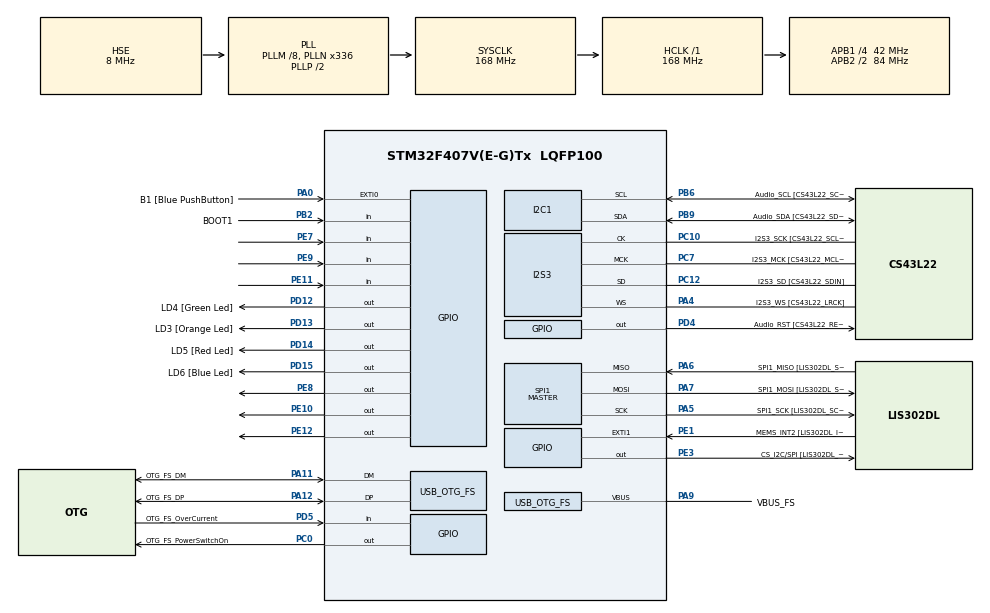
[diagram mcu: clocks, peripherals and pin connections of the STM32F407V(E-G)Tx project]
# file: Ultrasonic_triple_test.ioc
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I2S3.AudioFreq-Half_Duplex_Master=I2S_AUDIOFREQ_96K
I2S3.ErrorAudioFreq=-2.34 %
I2S3.ErrorAudioFreq-Half_Duplex_Master=0.8 %
I2S3.FullDuplexMode=I2S_FULLDUPLEXMODE_DISABLE
I2S3.Instance=SPI$Index
I2S3.RealAudioFreq=93.75 KHz
I2S3.RealAudioFreq-Half_Duplex_Master=96.774 KHz
I2S3.VirtualMode=I2S_MODE_MASTER
Mcu.Family=STM32F4
Mcu.Name=STM32F407V(E-G)Tx
Mcu.Package=LQFP100
NVIC.OTG_FS_IRQn=true\:0\:0\:false\:false\:true\:true\:true\:true
NVIC.PriorityGroup=NVIC_PRIORITYGROUP_0
PA0-WKUP.GPIO_Label=B1 [Blue PushButton]
PA0-WKUP.GPIO_ModeDefaultEXTI=GPIO_MODE_EVT_RISING
PA0-WKUP.GPIO_PuPd=GPIO_NOPULL
PA0-WKUP.Signal=GPXTI0
PA10.GPIO_Label=OTG_FS_ID
PA10.GPIO_Mode=GPIO_MODE_AF_PP
PA10.GPIO_PuPd=GPIO_NOPULL
PA10.GPIO_Speed=GPIO_SPEED_FREQ_LOW
PA10.Signal=USB_OTG_FS_ID
PA11.GPIO_Label=OTG_FS_DM
PA11.GPIO_Mode=GPIO_MODE_AF_PP
PA11.GPIO_PuPd=GPIO_NOPULL
PA11.GPIO_Speed=GPIO_SPEED_FREQ_LOW
PA11.Mode=Host_Only
PA11.Signal=USB_OTG_FS_DM
PA12.GPIO_Label=OTG_FS_DP
PA12.GPIO_Mode=GPIO_MODE_AF_PP
PA12.GPIO_PuPd=GPIO_NOPULL
PA12.GPIO_Speed=GPIO_SPEED_FREQ_LOW
PA12.Mode=Host_Only
PA12.Signal=USB_OTG_FS_DP
PA13.GPIO_Label=SWDIO
PA13.Mode=Serial_Wire
PA13.Signal=SYS_JTMS-SWDIO
PA14.GPIO_Label=SWCLK
PA14.Mode=Serial_Wire
PA14.Signal=SYS_JTCK-SWCLK
PA4.GPIO_Label=I2S3_WS [CS43L22_LRCK]
PA4.GPIO_Mode=GPIO_MODE_AF_PP
PA4.GPIO_PuPd=GPIO_NOPULL
PA4.GPIO_Speed=GPIO_SPEED_FREQ_LOW
PA4.Mode=Half_Duplex_Master
PA4.Signal=I2S3_WS
PA5.GPIO_Label=SPI1_SCK [LIS302DL_SCL/SPC]
PA5.GPIO_Mode=GPIO_MODE_AF_PP
PA5.GPIO_PuPd=GPIO_NOPULL
PA5.GPIO_Speed=GPIO_SPEED_FREQ_LOW
PA5.Mode=Full_Duplex_Master
PA5.Signal=SPI1_SCK
PA6.GPIO_Label=SPI1_MISO [LIS302DL_SDO]
PA6.GPIO_Mode=GPIO_MODE_AF_PP
PA6.GPIO_PuPd=GPIO_NOPULL
PA6.GPIO_Speed=GPIO_SPEED_FREQ_LOW
PA6.Mode=Full_Duplex_Master
PA6.Signal=SPI1_MISO
PA7.GPIO_Label=SPI1_MOSI [LIS302DL_SDA/SDI/SDO]
PA7.GPIO_Mode=GPIO_MODE_AF_PP
PA7.GPIO_PuPd=GPIO_NOPULL
PA7.GPIO_Speed=GPIO_SPEED_FREQ_LOW
PA7.Mode=Full_Duplex_Master
PA7.Signal=SPI1_MOSI
PA9.GPIO_Label=VBUS_FS
PA9.GPIO_Mode=GPIO_MODE_INPUT
PA9.GPIO_PuPd=GPIO_NOPULL
PA9.Mode=Activate_VBUS
PA9.Signal=USB_OTG_FS_VBUS
PB10.GPIO_Label=CLK_IN [MP45DT02_CLK]
PB10.GPIO_Mode=GPIO_MODE_AF_PP
PB10.GPIO_PuPd=GPIO_NOPULL
PB10.GPIO_Speed=GPIO_SPEED_FREQ_LOW
PB10.Signal=I2S2_CK
PB2.GPIO_Label=BOOT1
PB2.GPIO_Mode=GPIO_MODE_INPUT
PB2.GPIO_PuPd=GPIO_NOPULL
PB2.Signal=GPIO_Input
PB3.GPIO_Label=SWO
PB3.Signal=SYS_JTDO-SWO
PB6.GPIO_Label=Audio_SCL [CS43L22_SCL]
PB6.GPIO_Mode=GPIO_MODE_AF_OD
PB6.GPIO_Pu=GPIO_PULLUP
PB6.GPIO_PuPd=GPIO_NOPULL
PB6.GPIO_Speed=GPIO_SPEED_FREQ_LOW
PB6.Mode=I2C
PB6.Signal=I2C1_SCL
PB9.GPIO_Label=Audio_SDA [CS43L22_SDA]
PB9.GPIO_Mode=GPIO_MODE_AF_OD
PB9.GPIO_Pu=GPIO_PULLUP
PB9.GPIO_PuPd=GPIO_NOPULL
PB9.GPIO_Speed=GPIO_SPEED_FREQ_LOW
PB9.Mode=I2C
PB9.Signal=I2C1_SDA
PC0.GPIO_Label=OTG_FS_PowerSwitchOn
PC0.GPIO_PuPd=GPIO_NOPULL
PC0.GPIO_Speed=GPIO_SPEED_FREQ_LOW
PC0.PinState=GPIO_PIN_SET
PC0.Signal=GPIO_Output
PC10.GPIO_Label=I2S3_SCK [CS43L22_SCLK]
PC10.GPIO_Mode=GPIO_MODE_AF_PP
PC10.GPIO_PuPd=GPIO_NOPULL
PC10.GPIO_Speed=GPIO_SPEED_FREQ_LOW
PC10.Mode=Half_Duplex_Master
PC10.Signal=I2S3_CK
PC12.GPIO_Label=I2S3_SD [CS43L22_SDIN]
PC12.GPIO_Mode=GPIO_MODE_AF_PP
PC12.GPIO_PuPd=GPIO_NOPULL
PC12.GPIO_Speed=GPIO_SPEED_FREQ_LOW
PC12.Mode=Half_Duplex_Master
PC12.Signal=I2S3_SD
PC14-OSC32_IN.GPIO_Label=PC14-OSC32_IN
PC14-OSC32_IN.Mode=LSE-External-Oscillator
PC14-OSC32_IN.Signal=RCC_OSC32_IN
PC15-OSC32_OUT.GPIO_Label=PC15-OSC32_OUT
PC15-OSC32_OUT.Mode=LSE-External-Oscillator
PC15-OSC32_OUT.Signal=RCC_OSC32_OUT
PC3.GPIO_Label=PDM_OUT [MP45DT02_DOUT]
PC3.GPIO_Mode=GPIO_MODE_AF_PP
PC3.GPIO_PuPd=GPIO_NOPULL
PC3.GPIO_Speed=GPIO_SPEED_FREQ_LOW
PC3.Signal=I2S2_SD
PC7.GPIO_Label=I2S3_MCK [CS43L22_MCLK]
PC7.GPIO_Mode=GPIO_MODE_AF_PP
PC7.GPIO_PuPd=GPIO_NOPULL
PC7.GPIO_Speed=GPIO_SPEED_FREQ_LOW
PC7.Mode=Master_Clock_Activated
PC7.Signal=I2S3_MCK
PD12.GPIO_Label=LD4 [Green Led]
PD12.GPIO_PuPd=GPIO_NOPULL
PD12.GPIO_Speed=GPIO_SPEED_FREQ_LOW
PD12.Signal=GPIO_Output
PD13.GPIO_Label=LD3 [Orange Led]
PD13.GPIO_PuPd=GPIO_NOPULL
PD13.GPIO_Speed=GPIO_SPEED_FREQ_LOW
PD13.Signal=GPIO_Output
PD14.GPIO_Label=LD5 [Red Led]
PD14.GPIO_PuPd=GPIO_NOPULL
PD14.GPIO_Speed=GPIO_SPEED_FREQ_LOW
PD14.Signal=GPIO_Output
PD15.GPIO_Label=LD6 [Blue Led]
PD15.GPIO_PuPd=GPIO_NOPULL
PD15.GPIO_Speed=GPIO_SPEED_FREQ_LOW
PD15.Signal=GPIO_Output
PD4.GPIO_Label=Audio_RST [CS43L22_RESET]
PD4.GPIO_PuPd=GPIO_NOPULL
PD4.GPIO_Speed=GPIO_SPEED_FREQ_LOW
PD4.Signal=GPIO_Output
PD5.GPIO_Label=OTG_FS_OverCurrent
PD5.GPIO_Mode=GPIO_MODE_INPUT
PD5.GPIO_PuPd=GPIO_NOPULL
PD5.Signal=GPIO_Input
PE1.GPIO_Label=MEMS_INT2 [LIS302DL_INT2]
PE1.GPIO_ModeDefaultEXTI=GPIO_MODE_EVT_RISING
PE1.GPIO_PuPd=GPIO_NOPULL
PE1.Signal=GPXTI1
PE10.Signal=GPIO_Output
PE11.Signal=GPIO_Input
PE12.Signal=GPIO_Output
PE3.GPIO_Label=CS_I2C/SPI [LIS302DL_CS_I2C/SPI]
PE3.GPIO_PuPd=GPIO_NOPULL
PE3.GPIO_Speed=GPIO_SPEED_FREQ_LOW
PE3.Signal=GPIO_Output
PE7.Signal=GPIO_Input
PE8.Signal=GPIO_Output
PE9.Signal=GPIO_Input
PH0-OSC_IN.GPIO_Label=PH0-OSC_IN
PH0-OSC_IN.Mode=HSE-External-Oscillator
PH0-OSC_IN.Signal=RCC_OSC_IN
PH1-OSC_OUT.GPIO_Label=PH1-OSC_OUT
PH1-OSC_OUT.Mode=HSE-External-Oscillator
PH1-OSC_OUT.Signal=RCC_OSC_OUT
ProjectManager.HeapSize=0x200
ProjectManager.StackSize=0x400
ProjectManager.TargetToolchain=STM32CubeIDE
RCC.48MHZClocksFreq_Value=48000000
RCC.AHBFreq_Value=168000000
RCC.APB1CLKDivider=RCC_HCLK_DIV4
RCC.APB1Freq_Value=42000000
RCC.APB1TimFreq_Value=84000000
RCC.APB2CLKDivider=RCC_HCLK_DIV2
RCC.APB2Freq_Value=84000000
RCC.APB2TimFreq_Value=168000000
RCC.CortexFreq_Value=168000000
RCC.HCLKFreq_Value=168000000
RCC.HSE_VALUE=8000000
RCC.HSI_VALUE=16000000
RCC.PLLM=8
RCC.PLLN=336
RCC.PLLQ=7
RCC.SYSCLKFreq_VALUE=168000000
RCC.SYSCLKSource=RCC_SYSCLKSOURCE_PLLCLK
RCC.VCOOutputFreq_Value=336000000
SPI1.BaudRatePrescaler-Full_Duplex_Master=SPI_BAUDRATEPRESCALER_2
SPI1.CalculateBaudRate-Full_Duplex_Master=42.0 MBits/s
SPI1.Direction=SPI_DIRECTION_2LINES
SPI1.Mode=SPI_MODE_MASTER
SPI1.Mode-Full_Duplex_Master=SPI_MODE_MASTER
SPI1.VirtualType=VM_MASTER
TIM1.Prescaler=167
USB_HOST.BSP.number=1
USB_HOST.USBH_HandleTypeDef-CDC_FS=hUsbHostFS
USB_HOST.VirtualModeFS=Cdc
USB_HOST0.BSP.STBoard=false
USB_HOST0.BSP.api=Unknown
USB_HOST0.BSP.instance=PC0
USB_HOST0.BSP.ip=GPIO
USB_HOST0.BSP.mode=Output
USB_HOST0.BSP.name=Drive_VBUS_FS
USB_HOST0.BSP.solution=PC0
USB_OTG_FS.VirtualMode=Host_Only
USB_OTG_FS.phy_itface=HCD_PHY_EMBEDDED
VP_TIM1_VS_ClockSourceINT.Mode=Internal
VP_USB_HOST_VS_USB_HOST_CDC_FS.Mode=CDC_FS
board=STM32F407G-DISC1

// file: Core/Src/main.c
/* USER CODE BEGIN Header */
/**
  ******************************************************************************
  * @file           : main.c
  * @brief          : Main program body
  ******************************************************************************
  * @attention
  *
  * Copyright (c) 2025 STMicroelectronics.
  * All rights reserved.
  *
  * This software is licensed under terms that can be found in the LICENSE file
  * in the root directory of this software component.
  * If no LICENSE file comes with this software, it is provided AS-IS.
  *
  ******************************************************************************
  */
/* USER CODE END Header */
#include "main.h"
#include "usb_host.h"

I2C_HandleTypeDef hi2c1;

I2S_HandleTypeDef hi2s3;

SPI_HandleTypeDef hspi1;

TIM_HandleTypeDef htim1;

/* USER CODE BEGIN PV */
#define TRIG_PIN_1 GPIO_PIN_8
#define TRIG_PORT_1 GPIOE
#define ECHO_PIN_1 GPIO_PIN_7
#define ECHO_PORT_1 GPIOE
#define TRIG_PIN_2 GPIO_PIN_10
#define TRIG_PORT_2 GPIOE
#define ECHO_PIN_2 GPIO_PIN_9
#define ECHO_PORT_2 GPIOE
#define TRIG_PIN_3 GPIO_PIN_12
#define TRIG_PORT_3 GPIOE
#define ECHO_PIN_3 GPIO_PIN_11
#define ECHO_PORT_3 GPIOE
uint32_t pMillis;
uint32_t Value1_Sensor1 = 0;
uint32_t Value2_Sensor1 = 0;
uint16_t Distance_Sensor1  = 0;  // cm
uint32_t Value1_Sensor2 = 0;
uint32_t Value2_Sensor2 = 0;
uint16_t Distance_Sensor2  = 0;  // cm
uint32_t Value1_Sensor3 = 0;
uint32_t Value2_Sensor3 = 0;
uint16_t Distance_Sensor3  = 0;  // cm
/* USER CODE END PV */

void SystemClock_Config(void);
static void MX_GPIO_Init(void);
static void MX_I2C1_Init(void);
static void MX_I2S3_Init(void);
static void MX_SPI1_Init(void);
static void MX_TIM1_Init(void);
void MX_USB_HOST_Process(void);

/* USER CODE BEGIN 0 */
void computeDistance(uint16_t* distance1, uint16_t* distance2)
{

}
/* USER CODE END 0 */

int main(void)
{

  /* MCU Configuration--------------------------------------------------------*/

  /* Reset of all peripherals, Initializes the Flash interface and the Systick. */
  HAL_Init();

  /* Configure the system clock */
  SystemClock_Config();

  /* Initialize all configured peripherals */
  MX_GPIO_Init();
  MX_I2C1_Init();
  MX_I2S3_Init();
  MX_SPI1_Init();
  MX_USB_HOST_Init();
  MX_TIM1_Init();
  /* USER CODE BEGIN 2 */
  HAL_TIM_Base_Start(&htim1);
  HAL_GPIO_WritePin(TRIG_PORT_1, TRIG_PIN_1, GPIO_PIN_RESET);  // pull the TRIG pin for sensor 1 low
  HAL_GPIO_WritePin(TRIG_PORT_2, TRIG_PIN_2, GPIO_PIN_RESET);  // pull the TRIG pin for sensor 2 low
  HAL_GPIO_WritePin(TRIG_PORT_3, TRIG_PIN_3, GPIO_PIN_RESET);  // pull the TRIG pin for sensor 3 low
  /* USER CODE END 2 */

  /* Infinite loop */
  /* USER CODE BEGIN WHILE */
  while (1)
  {
	HAL_GPIO_WritePin(TRIG_PORT_1, TRIG_PIN_1, GPIO_PIN_SET);  // pull the TRIG_1 pin HIGH
	__HAL_TIM_SET_COUNTER(&htim1, 0);
	while (__HAL_TIM_GET_COUNTER (&htim1) < 40);  // wait for 40 us
	HAL_GPIO_WritePin(TRIG_PORT_1, TRIG_PIN_1, GPIO_PIN_RESET);  // pull the TRIG_1 pin low
	pMillis = HAL_GetTick(); // used this to avoid infinite while loop  (for timeout)
	// wait for the echo pin to go high
	while (!(HAL_GPIO_ReadPin (ECHO_PORT_1, ECHO_PIN_1)) && pMillis + 100 >  HAL_GetTick());
	Value1_Sensor1 = __HAL_TIM_GET_COUNTER (&htim1);

	pMillis = HAL_GetTick(); // used this to avoid infinite while loop (for timeout)
	// wait for the echo pin to go low
	while ((HAL_GPIO_ReadPin (ECHO_PORT_1, ECHO_PIN_1)) && pMillis + 500 > HAL_GetTick());
	Value2_Sensor1 = __HAL_TIM_GET_COUNTER (&htim1);
	Distance_Sensor1 = (Value2_Sensor1 - Value1_Sensor1) * 0.034/2;

	HAL_GPIO_WritePin(TRIG_PORT_2, TRIG_PIN_2, GPIO_PIN_SET);  // pull the TRIG_1 pin HIGH
	__HAL_TIM_SET_COUNTER(&htim1, 0);
	while (__HAL_TIM_GET_COUNTER (&htim1) < 40);  // wait for 40 us
	HAL_GPIO_WritePin(TRIG_PORT_2, TRIG_PIN_2, GPIO_PIN_RESET);  // pull the TRIG_1 pin low
	pMillis = HAL_GetTick(); // used this to avoid infinite while loop  (for timeout)
	// wait for the echo pin to go high
	while (!(HAL_GPIO_ReadPin (ECHO_PORT_2, ECHO_PIN_2)) && pMillis + 100 >  HAL_GetTick());
	Value1_Sensor2 = __HAL_TIM_GET_COUNTER (&htim1);

	pMillis = HAL_GetTick(); // used this to avoid infinite while loop (for timeout)
	// wait for the echo pin to go low
	while ((HAL_GPIO_ReadPin (ECHO_PORT_2, ECHO_PIN_2)) && pMillis + 500 > HAL_GetTick());
	Value2_Sensor2 = __HAL_TIM_GET_COUNTER (&htim1);
	Distance_Sensor2 = (Value2_Sensor2 - Value1_Sensor2) * 0.034/2;

	HAL_GPIO_WritePin(TRIG_PORT_3, TRIG_PIN_3, GPIO_PIN_SET);  // pull the TRIG_1 pin HIGH
	__HAL_TIM_SET_COUNTER(&htim1, 0);
	while (__HAL_TIM_GET_COUNTER (&htim1) < 40);  // wait for 40 us
	HAL_GPIO_WritePin(TRIG_PORT_3, TRIG_PIN_3, GPIO_PIN_RESET);  // pull the TRIG_1 pin low
	pMillis = HAL_GetTick(); // used this to avoid infinite while loop  (for timeout)
	// wait for the echo pin to go high
	while (!(HAL_GPIO_ReadPin (ECHO_PORT_3, ECHO_PIN_3)) && pMillis + 100 >  HAL_GetTick());
	Value1_Sensor3 = __HAL_TIM_GET_COUNTER (&htim1);

	pMillis = HAL_GetTick(); // used this to avoid infinite while loop (for timeout)
	// wait for the echo pin to go low
	while ((HAL_GPIO_ReadPin (ECHO_PORT_3, ECHO_PIN_3)) && pMillis + 500 > HAL_GetTick());
	Value2_Sensor3 = __HAL_TIM_GET_COUNTER (&htim1);
	Distance_Sensor3 = (Value2_Sensor3 - Value1_Sensor3) * 0.034/2;

	if(Distance_Sensor1 <= 5){
	 HAL_GPIO_WritePin(GPIOD, GPIO_PIN_12, GPIO_PIN_SET);
	}
	else{
	 HAL_GPIO_WritePin(GPIOD, GPIO_PIN_12, GPIO_PIN_RESET);
	}
	if(Distance_Sensor2 <= 5){
	 HAL_GPIO_WritePin(GPIOD, GPIO_PIN_13, GPIO_PIN_SET);
	}
	else{
	 HAL_GPIO_WritePin(GPIOD, GPIO_PIN_13, GPIO_PIN_RESET);
	}
	if(Distance_Sensor3 <= 5){
	 HAL_GPIO_WritePin(GPIOD, GPIO_PIN_14, GPIO_PIN_SET);
	}
	else{
	 HAL_GPIO_WritePin(GPIOD, GPIO_PIN_14, GPIO_PIN_RESET);
	}

	HAL_Delay(500);
    /* USER CODE END WHILE */
    MX_USB_HOST_Process();

  }
}

void SystemClock_Config(void)
{
  RCC_OscInitTypeDef RCC_OscInitStruct = {0};
  RCC_ClkInitTypeDef RCC_ClkInitStruct = {0};

  /** Configure the main internal regulator output voltage
  */
  __HAL_RCC_PWR_CLK_ENABLE();
  __HAL_PWR_VOLTAGESCALING_CONFIG(PWR_REGULATOR_VOLTAGE_SCALE1);

  /** Initializes the RCC Oscillators according to the specified parameters
  * in the RCC_OscInitTypeDef structure.
  */
  RCC_OscInitStruct.OscillatorType = RCC_OSCILLATORTYPE_HSE;
  RCC_OscInitStruct.HSEState = RCC_HSE_ON;
  RCC_OscInitStruct.PLL.PLLState = RCC_PLL_ON;
  RCC_OscInitStruct.PLL.PLLSource = RCC_PLLSOURCE_HSE;
  RCC_OscInitStruct.PLL.PLLM = 8;
  RCC_OscInitStruct.PLL.PLLN = 336;
  RCC_OscInitStruct.PLL.PLLP = RCC_PLLP_DIV2;
  RCC_OscInitStruct.PLL.PLLQ = 7;
  if (HAL_RCC_OscConfig(&RCC_OscInitStruct) != HAL_OK)
  {
    Error_Handler();
  }

  /** Initializes the CPU, AHB and APB buses clocks
  */
  RCC_ClkInitStruct.ClockType = RCC_CLOCKTYPE_HCLK|RCC_CLOCKTYPE_SYSCLK
                              |RCC_CLOCKTYPE_PCLK1|RCC_CLOCKTYPE_PCLK2;
  RCC_ClkInitStruct.SYSCLKSource = RCC_SYSCLKSOURCE_PLLCLK;
  RCC_ClkInitStruct.AHBCLKDivider = RCC_SYSCLK_DIV1;
  RCC_ClkInitStruct.APB1CLKDivider = RCC_HCLK_DIV4;
  RCC_ClkInitStruct.APB2CLKDivider = RCC_HCLK_DIV2;

  if (HAL_RCC_ClockConfig(&RCC_ClkInitStruct, FLASH_LATENCY_5) != HAL_OK)
  {
    Error_Handler();
  }
}

static void MX_I2C1_Init(void)
{

  hi2c1.Instance = I2C1;
  hi2c1.Init.ClockSpeed = 100000;
  hi2c1.Init.DutyCycle = I2C_DUTYCYCLE_2;
  hi2c1.Init.OwnAddress1 = 0;
  hi2c1.Init.AddressingMode = I2C_ADDRESSINGMODE_7BIT;
  hi2c1.Init.DualAddressMode = I2C_DUALADDRESS_DISABLE;
  hi2c1.Init.OwnAddress2 = 0;
  hi2c1.Init.GeneralCallMode = I2C_GENERALCALL_DISABLE;
  hi2c1.Init.NoStretchMode = I2C_NOSTRETCH_DISABLE;
  if (HAL_I2C_Init(&hi2c1) != HAL_OK)
  {
    Error_Handler();
  }

}

static void MX_I2S3_Init(void)
{

  hi2s3.Instance = SPI3;
  hi2s3.Init.Mode = I2S_MODE_MASTER_TX;
  hi2s3.Init.Standard = I2S_STANDARD_PHILIPS;
  hi2s3.Init.DataFormat = I2S_DATAFORMAT_16B;
  hi2s3.Init.MCLKOutput = I2S_MCLKOUTPUT_ENABLE;
  hi2s3.Init.AudioFreq = I2S_AUDIOFREQ_96K;
  hi2s3.Init.CPOL = I2S_CPOL_LOW;
  hi2s3.Init.ClockSource = I2S_CLOCK_PLL;
  hi2s3.Init.FullDuplexMode = I2S_FULLDUPLEXMODE_DISABLE;
  if (HAL_I2S_Init(&hi2s3) != HAL_OK)
  {
    Error_Handler();
  }

}

static void MX_SPI1_Init(void)
{

  /* SPI1 parameter configuration*/
  hspi1.Instance = SPI1;
  hspi1.Init.Mode = SPI_MODE_MASTER;
  hspi1.Init.Direction = SPI_DIRECTION_2LINES;
  hspi1.Init.DataSize = SPI_DATASIZE_8BIT;
  hspi1.Init.CLKPolarity = SPI_POLARITY_LOW;
  hspi1.Init.CLKPhase = SPI_PHASE_1EDGE;
  hspi1.Init.NSS = SPI_NSS_SOFT;
  hspi1.Init.BaudRatePrescaler = SPI_BAUDRATEPRESCALER_2;
  hspi1.Init.FirstBit = SPI_FIRSTBIT_MSB;
  hspi1.Init.TIMode = SPI_TIMODE_DISABLE;
  hspi1.Init.CRCCalculation = SPI_CRCCALCULATION_DISABLE;
  hspi1.Init.CRCPolynomial = 10;
  if (HAL_SPI_Init(&hspi1) != HAL_OK)
  {
    Error_Handler();
  }

}

static void MX_TIM1_Init(void)
{

  TIM_ClockConfigTypeDef sClockSourceConfig = {0};
  TIM_MasterConfigTypeDef sMasterConfig = {0};

  htim1.Instance = TIM1;
  htim1.Init.Prescaler = 167;
  htim1.Init.CounterMode = TIM_COUNTERMODE_UP;
  htim1.Init.Period = 65535;
  htim1.Init.ClockDivision = TIM_CLOCKDIVISION_DIV1;
  htim1.Init.RepetitionCounter = 0;
  htim1.Init.AutoReloadPreload = TIM_AUTORELOAD_PRELOAD_DISABLE;
  if (HAL_TIM_Base_Init(&htim1) != HAL_OK)
  {
    Error_Handler();
  }
  sClockSourceConfig.ClockSource = TIM_CLOCKSOURCE_INTERNAL;
  if (HAL_TIM_ConfigClockSource(&htim1, &sClockSourceConfig) != HAL_OK)
  {
    Error_Handler();
  }
  sMasterConfig.MasterOutputTrigger = TIM_TRGO_RESET;
  sMasterConfig.MasterSlaveMode = TIM_MASTERSLAVEMODE_DISABLE;
  if (HAL_TIMEx_MasterConfigSynchronization(&htim1, &sMasterConfig) != HAL_OK)
  {
    Error_Handler();
  }

}

static void MX_GPIO_Init(void)
{
  GPIO_InitTypeDef GPIO_InitStruct = {0};

  /* GPIO Ports Clock Enable */
  __HAL_RCC_GPIOE_CLK_ENABLE();
  __HAL_RCC_GPIOC_CLK_ENABLE();
  __HAL_RCC_GPIOH_CLK_ENABLE();
  __HAL_RCC_GPIOA_CLK_ENABLE();
  __HAL_RCC_GPIOB_CLK_ENABLE();
  __HAL_RCC_GPIOD_CLK_ENABLE();

  /*Configure GPIO pin Output Level */
  HAL_GPIO_WritePin(GPIOE, CS_I2C_SPI_Pin|GPIO_PIN_8|GPIO_PIN_10|GPIO_PIN_12, GPIO_PIN_RESET);

  /*Configure GPIO pin Output Level */
  HAL_GPIO_WritePin(OTG_FS_PowerSwitchOn_GPIO_Port, OTG_FS_PowerSwitchOn_Pin, GPIO_PIN_SET);

  /*Configure GPIO pin Output Level */
  HAL_GPIO_WritePin(GPIOD, LD4_Pin|LD3_Pin|LD5_Pin|LD6_Pin
                          |Audio_RST_Pin, GPIO_PIN_RESET);

  /*Configure GPIO pins : CS_I2C_SPI_Pin PE8 PE10 PE12 */
  GPIO_InitStruct.Pin = CS_I2C_SPI_Pin|GPIO_PIN_8|GPIO_PIN_10|GPIO_PIN_12;
  GPIO_InitStruct.Mode = GPIO_MODE_OUTPUT_PP;
  GPIO_InitStruct.Pull = GPIO_NOPULL;
  GPIO_InitStruct.Speed = GPIO_SPEED_FREQ_LOW;
  HAL_GPIO_Init(GPIOE, &GPIO_InitStruct);

  /*Configure GPIO pin : OTG_FS_PowerSwitchOn_Pin */
  GPIO_InitStruct.Pin = OTG_FS_PowerSwitchOn_Pin;
  GPIO_InitStruct.Mode = GPIO_MODE_OUTPUT_PP;
  GPIO_InitStruct.Pull = GPIO_NOPULL;
  GPIO_InitStruct.Speed = GPIO_SPEED_FREQ_LOW;
  HAL_GPIO_Init(OTG_FS_PowerSwitchOn_GPIO_Port, &GPIO_InitStruct);

  /*Configure GPIO pin : PDM_OUT_Pin */
  GPIO_InitStruct.Pin = PDM_OUT_Pin;
  GPIO_InitStruct.Mode = GPIO_MODE_AF_PP;
  GPIO_InitStruct.Pull = GPIO_NOPULL;
  GPIO_InitStruct.Speed = GPIO_SPEED_FREQ_LOW;
  GPIO_InitStruct.Alternate = GPIO_AF5_SPI2;
  HAL_GPIO_Init(PDM_OUT_GPIO_Port, &GPIO_InitStruct);

  /*Configure GPIO pin : B1_Pin */
  GPIO_InitStruct.Pin = B1_Pin;
  GPIO_InitStruct.Mode = GPIO_MODE_EVT_RISING;
  GPIO_InitStruct.Pull = GPIO_NOPULL;
  HAL_GPIO_Init(B1_GPIO_Port, &GPIO_InitStruct);

  /*Configure GPIO pin : BOOT1_Pin */
  GPIO_InitStruct.Pin = BOOT1_Pin;
  GPIO_InitStruct.Mode = GPIO_MODE_INPUT;
  GPIO_InitStruct.Pull = GPIO_NOPULL;
  HAL_GPIO_Init(BOOT1_GPIO_Port, &GPIO_InitStruct);

  /*Configure GPIO pins : PE7 PE9 PE11 */
  GPIO_InitStruct.Pin = GPIO_PIN_7|GPIO_PIN_9|GPIO_PIN_11;
  GPIO_InitStruct.Mode = GPIO_MODE_INPUT;
  GPIO_InitStruct.Pull = GPIO_NOPULL;
  HAL_GPIO_Init(GPIOE, &GPIO_InitStruct);

  /*Configure GPIO pin : CLK_IN_Pin */
  GPIO_InitStruct.Pin = CLK_IN_Pin;
  GPIO_InitStruct.Mode = GPIO_MODE_AF_PP;
  GPIO_InitStruct.Pull = GPIO_NOPULL;
  GPIO_InitStruct.Speed = GPIO_SPEED_FREQ_LOW;
  GPIO_InitStruct.Alternate = GPIO_AF5_SPI2;
  HAL_GPIO_Init(CLK_IN_GPIO_Port, &GPIO_InitStruct);

  /*Configure GPIO pins : LD4_Pin LD3_Pin LD5_Pin LD6_Pin
                           Audio_RST_Pin */
  GPIO_InitStruct.Pin = LD4_Pin|LD3_Pin|LD5_Pin|LD6_Pin
                          |Audio_RST_Pin;
  GPIO_InitStruct.Mode = GPIO_MODE_OUTPUT_PP;
  GPIO_InitStruct.Pull = GPIO_NOPULL;
  GPIO_InitStruct.Speed = GPIO_SPEED_FREQ_LOW;
  HAL_GPIO_Init(GPIOD, &GPIO_InitStruct);

  /*Configure GPIO pin : OTG_FS_OverCurrent_Pin */
  GPIO_InitStruct.Pin = OTG_FS_OverCurrent_Pin;
  GPIO_InitStruct.Mode = GPIO_MODE_INPUT;
  GPIO_InitStruct.Pull = GPIO_NOPULL;
  HAL_GPIO_Init(OTG_FS_OverCurrent_GPIO_Port, &GPIO_InitStruct);

  /*Configure GPIO pin : MEMS_INT2_Pin */
  GPIO_InitStruct.Pin = MEMS_INT2_Pin;
  GPIO_InitStruct.Mode = GPIO_MODE_EVT_RISING;
  GPIO_InitStruct.Pull = GPIO_NOPULL;
  HAL_GPIO_Init(MEMS_INT2_GPIO_Port, &GPIO_InitStruct);

}

void Error_Handler(void)
{
  __disable_irq();
  while (1)
  {
  }
}
